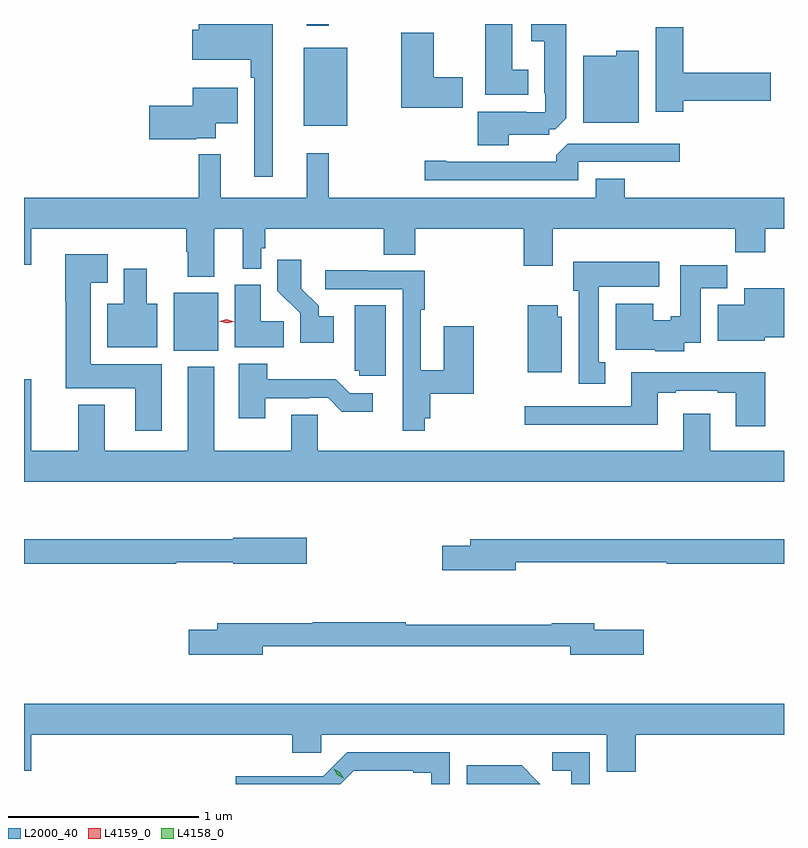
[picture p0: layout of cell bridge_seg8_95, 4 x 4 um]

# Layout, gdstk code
import gdstk
lib = gdstk.Library(unit=1e-6, precision=1e-09)
def R(c, l, rs):  # rectangles x0, y0, x1, y1
    for r in rs: c.add(gdstk.rectangle(r[:2], r[2:], *l))
def P(c, l, *ps):  # polygons
    for p in ps: c.add(gdstk.Polygon(p, *l))
L2000_40 = (2000, 40)
L4158_0 = (4158, 0)
L4159_0 = (4159, 0)

bridge_seg8_95 = lib.new_cell('bridge_seg8_95')
R(bridge_seg8_95, L2000_40, [(693.395,1157.15,693.628,1157.455), (694.079,1158.335,694.306,1158.745), (694.094,1158.861,694.211,1158.87)])
P(bridge_seg8_95, L2000_40, [(695.26,1158.628),(695.176,1158.628),(695.176,1158.87),(695.033,1158.87),(695.033,1158.497),(695.26,1158.497)],
  [(695.158,1158.287),(695.37,1158.287),(695.37,1158.315),(695.401,1158.315),(695.461,1158.375),(695.461,1158.87),(695.276,1158.87),(695.276,1158.779),(695.345,1158.779),(695.345,1158.505),(695.349,1158.505),(695.349,1158.405),(695.249,1158.405),(695.249,1158.409),(694.994,1158.409),(694.994,1158.233),(695.158,1158.233)],
  [(693.916,1158.87),(693.526,1158.87),(693.526,1158.841),(693.492,1158.841),(693.492,1158.683),(693.799,1158.683),(693.799,1158.587),(693.819,1158.587),(693.819,1158.066),(693.916,1158.066)],
  [(696.077,1158.467),(696.535,1158.467),(696.535,1158.614),(696.077,1158.614),(696.077,1158.852),(695.93,1158.852),(695.93,1158.408),(696.077,1158.408)],
  [(694.915,1158.591),(694.762,1158.591),(694.762,1158.823),(694.592,1158.823),(694.592,1158.428),(694.915,1158.428)],
  [(695.842,1158.73),(695.724,1158.73),(695.724,1158.703),(695.549,1158.703),(695.549,1158.35),(695.842,1158.35)],
  [(693.512,1158.269),(693.616,1158.269),(693.616,1158.347),(693.73,1158.347),(693.73,1158.535),(693.494,1158.535),(693.494,1158.44),(693.264,1158.44),(693.264,1158.264),(693.512,1158.264)],
  [(695.523,1158.144),(696.058,1158.144),(696.058,1158.24),(695.469,1158.24),(695.408,1158.178),(695.408,1158.144),(694.828,1158.144),(694.828,1158.149),(694.716,1158.149),(694.716,1158.048),(695.523,1158.048)],
  [(693.607,1157.792),(693.758,1157.792),(693.758,1157.582),(693.855,1157.582),(693.855,1157.691),(693.875,1157.691),(693.875,1157.792),(694.499,1157.792),(694.499,1157.656),(694.664,1157.656),(694.664,1157.792),(695.237,1157.792),(695.237,1157.598),(695.389,1157.598),(695.389,1157.792),(696.349,1157.792),(696.349,1157.668),(696.506,1157.668),(696.506,1157.792),(696.606,1157.792),(696.606,1157.956),(695.768,1157.956),(695.768,1158.055),(695.615,1158.055),(695.615,1157.956),(694.211,1157.956),(694.211,1158.19),(694.094,1158.19),(694.094,1157.956),(693.641,1157.956),(693.641,1158.184),(693.527,1158.184),(693.527,1157.956),(692.606,1157.956),(692.606,1157.604),(692.644,1157.604),(692.644,1157.792),(693.46,1157.792),(693.46,1157.672),(693.467,1157.672),(693.467,1157.54),(693.607,1157.54)],
  [(693.331,1157.08),(692.956,1157.08),(692.956,1157.507),(693.046,1157.507),(693.046,1157.659),(692.822,1157.659),(692.822,1157.411),(692.827,1157.411),(692.827,1156.952),(693.191,1156.952),(693.191,1156.728),(693.331,1156.728)],
  [(694.237,1157.332),(694.156,1157.332),(694.156,1157.387),(694.066,1157.477),(694.066,1157.629),(693.94,1157.629),(693.94,1157.466),(694.059,1157.347),(694.059,1157.192),(694.237,1157.192)],
  [(695.665,1157.09),(695.632,1157.09),(695.632,1157.486),(695.95,1157.486),(695.95,1157.62),(695.498,1157.62),(695.498,1157.466),(695.525,1157.466),(695.525,1156.977),(695.665,1156.977)],
  [(696.082,1157.192),(696.169,1157.192),(696.169,1157.48),(696.308,1157.48),(696.308,1157.599),(696.059,1157.599),(696.059,1157.332),(696.009,1157.332),(696.009,1157.311),(695.917,1157.311),(695.917,1157.398),(695.72,1157.398),(695.72,1157.156),(695.928,1157.156),(695.928,1157.147),(696.082,1157.147)],
  [(693.307,1157.398),(693.253,1157.398),(693.253,1157.581),(693.131,1157.581),(693.131,1157.398),(693.044,1157.398),(693.044,1157.168),(693.307,1157.168)],
  [(694.715,1156.796),(694.745,1156.796),(694.745,1156.925),(694.972,1156.925),(694.972,1157.278),(694.814,1157.278),(694.814,1157.048),(694.695,1157.048),(694.695,1157.365),(694.715,1157.365),(694.715,1157.571),(694.415,1157.571),(694.415,1157.574),(694.191,1157.574),(694.191,1157.475),(694.599,1157.475),(694.599,1156.728),(694.715,1156.728)],
  [(693.974,1157.306),(693.853,1157.306),(693.853,1157.497),(693.716,1157.497),(693.716,1157.168),(693.974,1157.168)],
  [(696.504,1157.222),(696.606,1157.222),(696.606,1157.479),(696.398,1157.479),(696.398,1157.392),(696.257,1157.392),(696.257,1157.204),(696.504,1157.204)],
  [(694.51,1157.39),(694.346,1157.39),(694.346,1157.046),(694.371,1157.046),(694.371,1157.019),(694.51,1157.019)],
  [(695.437,1157.328),(695.416,1157.328),(695.416,1157.389),(695.258,1157.389),(695.258,1157.036),(695.437,1157.036)],
  [(693.877,1156.899),(694.106,1156.899),(694.106,1156.902),(694.206,1156.902),(694.279,1156.829),(694.441,1156.829),(694.441,1156.926),(694.32,1156.926),(694.247,1156.999),(693.885,1156.999),(693.885,1157.083),(693.737,1157.083),(693.737,1156.794),(693.877,1156.794)],
  [(692.891,1156.867),(692.891,1156.624),(692.644,1156.624),(692.644,1156.999),(692.606,1156.999),(692.606,1156.46),(696.606,1156.46),(696.606,1156.624),(696.217,1156.624),(696.217,1156.819),(696.077,1156.819),(696.077,1156.624),(694.152,1156.624),(694.152,1156.814),(694.013,1156.814),(694.013,1156.624),(693.607,1156.624),(693.607,1157.065),(693.467,1157.065),(693.467,1156.624),(693.031,1156.624),(693.031,1156.867)],
  [(696.506,1157.038),(696.261,1157.038),(696.261,1157.037),(695.801,1157.037),(695.801,1156.857),(695.241,1156.857),(695.241,1156.76),(695.941,1156.76),(695.941,1156.929),(696.037,1156.929),(696.037,1156.941),(696.257,1156.941),(696.257,1156.929),(696.353,1156.929),(696.353,1156.752),(696.506,1156.752)],
  [(693.408,1156.038),(693.708,1156.038),(693.708,1156.03),(694.093,1156.03),(694.093,1156.167),(693.708,1156.167),(693.708,1156.159),(692.606,1156.159),(692.606,1156.03),(693.408,1156.03)],
  [(695.194,1156.038),(695.99,1156.038),(695.99,1156.03),(696.606,1156.03),(696.606,1156.159),(694.955,1156.159),(694.955,1156.125),(694.806,1156.125),(694.806,1155.995),(695.194,1155.995)],
  [(693.862,1155.594),(695.48,1155.594),(695.48,1155.551),(695.869,1155.551),(695.869,1155.681),(695.608,1155.681),(695.608,1155.715),(695.384,1155.715),(695.384,1155.707),(694.616,1155.707),(694.616,1155.722),(694.127,1155.722),(694.127,1155.715),(693.623,1155.715),(693.623,1155.681),(693.474,1155.681),(693.474,1155.551),(693.862,1155.551)],
  [(695.825,1155.128),(696.606,1155.128),(696.606,1155.292),(692.606,1155.292),(692.606,1154.94),(692.644,1154.94),(692.644,1155.128),(694.019,1155.128),(694.019,1155.035),(694.17,1155.035),(694.17,1155.128),(695.672,1155.128),(695.672,1154.934),(695.825,1154.934)],
  [(695.583,1155.036),(695.385,1155.036),(695.385,1154.94),(695.487,1154.94),(695.487,1154.87),(695.583,1154.87)],
  [(694.341,1154.94),(694.655,1154.94),(694.655,1154.928),(694.749,1154.928),(694.749,1154.87),(694.848,1154.87),(694.848,1155.036),(694.308,1155.036),(694.182,1154.91),(693.96,1154.91),(693.96,1154.912),(693.72,1154.912),(693.72,1154.87),(694.271,1154.87)],
  [(695.305,1154.887),(695.225,1154.968),(694.937,1154.968),(694.937,1154.87),(695.322,1154.87)])
P(bridge_seg8_95, L4158_0, [(694.287,1154.9),(694.255,1154.918),(694.237,1154.951),(694.237,1154.951),(694.237,1154.951),(694.269,1154.932),(694.288,1154.9),(694.288,1154.9)])
P(bridge_seg8_95, L4159_0, [(693.673,1157.295),(693.634,1157.305),(693.634,1157.305),(693.634,1157.306),(693.673,1157.315),(693.712,1157.304),(693.712,1157.304),(693.712,1157.304)])

lib.write_gds('bridge_seg8_95.gds')
